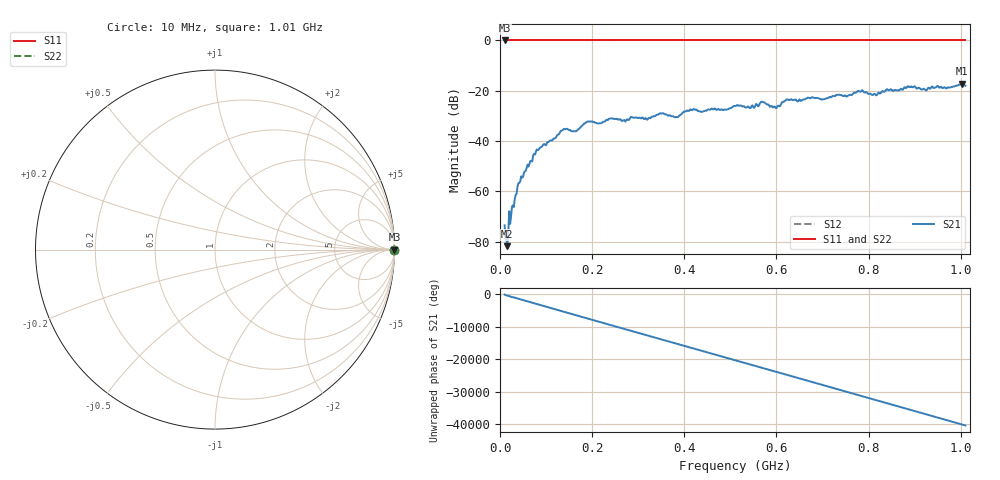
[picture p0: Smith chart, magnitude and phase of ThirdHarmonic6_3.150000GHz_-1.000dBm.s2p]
! 8/17/2025 9:25:48 AM
! C:\ANRITSUVNA\TEMP\TEMP.S2P
! CHANNEL.1
! TR.MEASUREMENT
! RAW.DATA
! RF.CORRECTION.OFF
! AVERAGING.OFF
! IF.BANDWIDTH: 5KHZ
! SWEEPTYPE:  FREQ.SWEEP(Linear)
! Reference Plane Port Info
! PORT:  PORT1  PORT2
! DISTANCE:  0  m  0  m
! TIME:  0  s  0  s
! PHASE.OFFSET:  0  deg.  0  deg.
! LOSS:  0  dB  0  dB
! REF.LOSS:  0  dB  0  dB
! REF.FREQ:  0  Hz  0  Hz
! Power Info
! POWER:  -20  dBm  -20  dBm
! EFF.POWER:  -20  dBm  -20  dBm
! SOURCE.ATTEN:  0  dB  0  dB
! TEST.ATTEN:  0  dB  0  dB
# GHZ S RI R 50.0
! FREQ.GHZ  S11RE  S11IM  S21RE  S21IM  S12RE  S12IM  S22RE  S22IM
!; PortSelection: Port_12
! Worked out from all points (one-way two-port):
!   501 points, 10 MHz to 1.01 GHz, reference 50 ohm
!   highest |S21| = -17.23 dB at 1.002 GHz (marker M1); lowest = -81.8 dB at 16 MHz (marker M2)
!   lowest |S11| = 0.0 dB at 10 MHz (marker M3)
!   |S11| at or under -10 dB: nowhere
!   |S22| runs from 0.0 to 0.0 dB; largest |S21 - S12| = 1.1
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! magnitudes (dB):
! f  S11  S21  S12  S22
! 10 MHz  0.0  -73.5  0.0  0.0
! 14 MHz  0.0  -79.4  0.0  0.0
! 16 MHz  0.0  -81.8  0.0  0.0
! 24 MHz  0.0  -69.9  0.0  0.0
! 42 MHz  0.0  -56.7  0.0  0.0
! 76 MHz  0.0  -45.4  0.0  0.0
! 136 MHz  0.0  -35.6  0.0  0.0
! 162 MHz  0.0  -36.1  0.0  0.0
! 178 MHz  0.0  -33.9  0.0  0.0
! 344 MHz  0.0  -29.5  0.0  0.0
! 382 MHz  0.0  -30.4  0.0  0.0
! 416 MHz  0.0  -27.7  0.0  0.0
! 510 MHz  0.0  -26.1  0.0  0.0
! 570 MHz  0.0  -24.4  0.0  0.0
! 596 MHz  0.0  -26.2  0.0  0.0
! 622 MHz  0.0  -23.4  0.0  0.0
! 678 MHz  0.0  -22.6  0.0  0.0
! 782 MHz  0.0  -20.4  0.0  0.0
! 814 MHz  0.0  -21.3  0.0  0.0
! 844 MHz  0.0  -19.8  0.0  0.0
! 1.002 GHz  0.0  -17.2  0.0  0.0
! 1.01 GHz  0.0  -18.0  0.0  0.0
